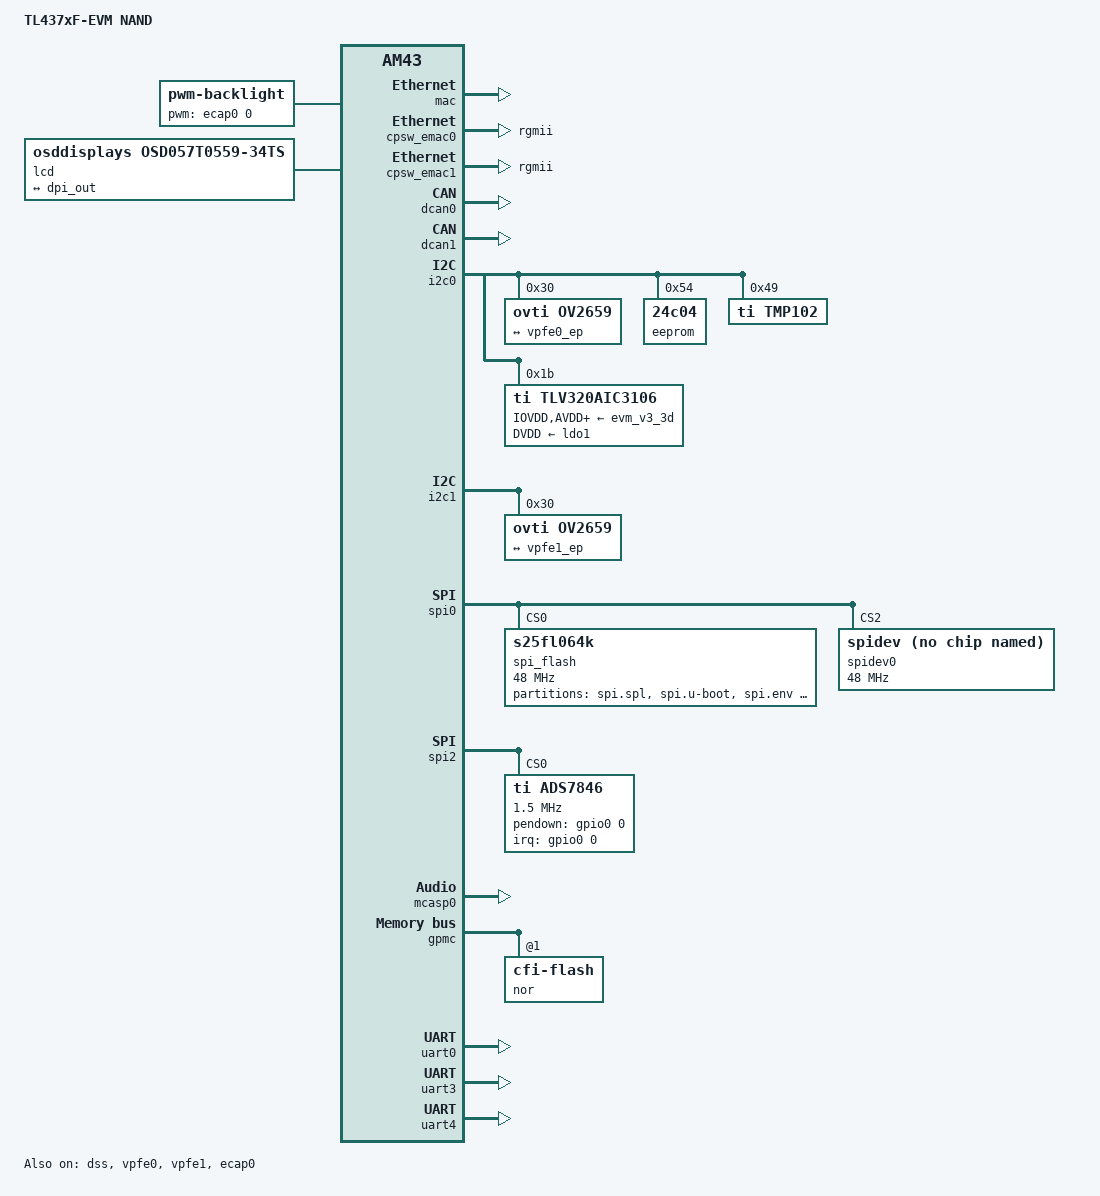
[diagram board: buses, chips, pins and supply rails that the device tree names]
/*
 * Copyright (C) 2015 GuangZhou Tronlong co., LTD - http://www.tronlong.com
 *
 * This program is free software; you can redistribute it and/or modify
 * it under the terms of the GNU General Public License version 2 as
 * published by the Free Software Foundation.
 */

/* TL437xF-EVM device tree */

#include "tl437x-common.dtsi"

/ {
	model = "TL437xF-EVM NAND";

	compatible = "ti,am437x-gp-evm","ti,am4372","ti,am43";

	backlight {
		compatible = "pwm-backlight";

		pinctrl-names = "default";
		pinctrl-0 = <&ecap0_pins>;

		pwms = <&ecap0 0 50000 0>;
		brightness-levels = <0 32 64 96 128 159 191 223 255>;
		default-brightness-level = <8>;
	};

	sound0: sound@0 {
		compatible = "simple-audio-card";
		simple-audio-card,name = "AM437x-GP-EVM";
		simple-audio-card,widgets =
			"Microphone", "Microphone Jack",
			"Line", "Line In Jack",
			"Line", "Line Out Jack";
		simple-audio-card,routing =
			"LINE1L", "Line In Jack",
			"LINE1R", "Line In Jack",
			"MIC3L", "Microphone Jack",
			"MIC3R", "Microphone Jack",
			"Microphone Jack", "Mic Bias",
			"Line Out Jack", "LLOUT",
			"Line Out Jack", "RLOUT";
		simple-audio-card,format = "dsp_b";
		simple-audio-card,bitclock-master = <&link0_codec>;
		simple-audio-card,frame-master = <&link0_codec>;
		simple-audio-card,bitclock-inversion;

		simple-audio-card,cpu {
			sound-dai = <&mcasp0>;
			system-clock-frequency = <24000000>;
		};

		link0_codec: simple-audio-card,codec {
			sound-dai = <&tlv320aic3106>;
			system-clock-frequency = <24000000>;
		};
	};

	lcd0: display {
		compatible = "osddisplays,osd057T0559-34ts", "panel-dpi";
		label = "lcd";

		panel-timing {
			clock-frequency = <33000000>;
			hactive = <800>;
			vactive = <480>;
			hfront-porch = <210>;
			hback-porch = <16>;
			hsync-len = <30>;
			vback-porch = <10>;
			vfront-porch = <22>;
			vsync-len = <13>;
			hsync-active = <0>;
			vsync-active = <0>;
			de-active = <1>;
			pixelclk-active = <1>;
		};

		port {
			lcd_in: endpoint {
				remote-endpoint = <&dpi_out>;
			};
		};
	};
};

&am43xx_pinmux {
	pinctrl-names = "default";
	pinctrl-0 = <&clkout1_pin &gpio_pins>;

	cpsw_default: cpsw_default {
		pinctrl-single,pins = <
			/* Slave 1 */
			AM4372_IOPAD(0x914, PIN_OUTPUT_PULLDOWN | MUX_MODE2)	/* mii1_txen.rgmii1_txen */
			AM4372_IOPAD(0x918, PIN_INPUT_PULLDOWN | MUX_MODE2)	/* mii1_rxdv.rgmii1_rxctl */
			AM4372_IOPAD(0x91c, PIN_OUTPUT_PULLDOWN | MUX_MODE2)	/* mii1_txd1.rgmii1_txd3 */
			AM4372_IOPAD(0x920, PIN_OUTPUT_PULLDOWN | MUX_MODE2)	/* mii1_txd0.rgmii1_txd2 */
			AM4372_IOPAD(0x924, PIN_OUTPUT_PULLDOWN | MUX_MODE2)	/* mii1_txd1.rgmii1_txd1 */
			AM4372_IOPAD(0x928, PIN_OUTPUT_PULLDOWN | MUX_MODE2)	/* mii1_txd0.rgmii1_txd0 */
			AM4372_IOPAD(0x92c, PIN_OUTPUT_PULLDOWN | MUX_MODE2)	/* mii1_txclk.rmii1_tclk */
			AM4372_IOPAD(0x930, PIN_INPUT_PULLDOWN | MUX_MODE2)	/* mii1_rxclk.rmii1_rclk */
			AM4372_IOPAD(0x934, PIN_INPUT_PULLDOWN | MUX_MODE2)	/* mii1_rxd1.rgmii1_rxd3 */
			AM4372_IOPAD(0x938, PIN_INPUT_PULLDOWN | MUX_MODE2)	/* mii1_rxd0.rgmii1_rxd2 */
			AM4372_IOPAD(0x93c, PIN_INPUT_PULLDOWN | MUX_MODE2)	/* mii1_rxd1.rgmii1_rxd1 */
			AM4372_IOPAD(0x940, PIN_INPUT_PULLDOWN | MUX_MODE2)	/* mii1_rxd0.rgmii1_rxd0 */

			/* Slave 2 */
			AM4372_IOPAD(0x840, PIN_OUTPUT_PULLDOWN | MUX_MODE2)	/* gpmc_a0.rgmii2_tctl */
			AM4372_IOPAD(0x844, PIN_INPUT_PULLDOWN | MUX_MODE2)		/* gpmc_a1.rgmii2_rctl */
			AM4372_IOPAD(0x848, PIN_OUTPUT_PULLDOWN | MUX_MODE2)	/* gpmc_a2.rgmii2_txd3 */
			AM4372_IOPAD(0x84c, PIN_OUTPUT_PULLDOWN | MUX_MODE2)	/* gpmc_a3.rgmii2_txd2 */
			AM4372_IOPAD(0x850, PIN_OUTPUT_PULLDOWN | MUX_MODE2)	/* gpmc_a4.rgmii2_txd1 */
			AM4372_IOPAD(0x854, PIN_OUTPUT_PULLDOWN | MUX_MODE2)	/* gpmc_a5.rgmii2_txd0 */
			AM4372_IOPAD(0x858, PIN_OUTPUT_PULLDOWN | MUX_MODE2)	/* gpmc_a6.rgmii2_tclk */
			AM4372_IOPAD(0x85c, PIN_INPUT_PULLDOWN | MUX_MODE2)	/* gpmc_a7.rgmii2_rclk */
			AM4372_IOPAD(0x860, PIN_INPUT_PULLDOWN | MUX_MODE2)	/* gpmc_a8.rgmii2_rxd3*/
			AM4372_IOPAD(0x864, PIN_INPUT_PULLDOWN | MUX_MODE2)	/* gpmc_a9.rgmii2_rxd2 */
			AM4372_IOPAD(0x868, PIN_INPUT_PULLDOWN | MUX_MODE2)	/* gpmc_a10.rgmii2_rxd1 */
			AM4372_IOPAD(0x86c, PIN_INPUT_PULLDOWN | MUX_MODE2)	/* gpmc_a11.rgmii2_rxd0 */
		>;
	};

	dcan0_default: dcan0_default_pins {
		pinctrl-single,pins = <
			AM4372_IOPAD(0x978, PIN_OUTPUT | MUX_MODE2)		/* uart1_ctsn.d_can0_tx */
			AM4372_IOPAD(0x97c, PIN_INPUT_PULLUP | MUX_MODE2)	/* uart1_rtsn.d_can0_rx */
		>;
	};

	dcan1_default: dcan1_default_pins {
		pinctrl-single,pins = <
			AM4372_IOPAD(0x980, PIN_OUTPUT | MUX_MODE2)		/* uart1_rxd.d_can1_tx */
			AM4372_IOPAD(0x984, PIN_INPUT_PULLUP | MUX_MODE2)	/* uart1_txd.d_can1_rx */
		>;
	};

	ads7846_int_pins: ads7846_int_pins {
		pinctrl-single,pins = <
			AM4372_IOPAD(0x908, PIN_INPUT_PULLUP | MUX_MODE9)	/* mii1_col.gpio0_0 */
		>;
	};

	dss_rgb565_pins: dss_rgb565_pins {
		pinctrl-single,pins = <
			AM4372_IOPAD(0x8a0, PIN_OUTPUT_PULLUP | MUX_MODE0)	/* DSS DATA 0 */
			AM4372_IOPAD(0x8a4, PIN_OUTPUT_PULLUP | MUX_MODE0)
			AM4372_IOPAD(0x8a8, PIN_OUTPUT_PULLUP | MUX_MODE0)
			AM4372_IOPAD(0x8ac, PIN_OUTPUT_PULLUP | MUX_MODE0)
			AM4372_IOPAD(0x8b0, PIN_OUTPUT_PULLUP | MUX_MODE0)
			AM4372_IOPAD(0x8b4, PIN_OUTPUT_PULLUP | MUX_MODE0)
			AM4372_IOPAD(0x8b8, PIN_OUTPUT_PULLUP | MUX_MODE0)
			AM4372_IOPAD(0x8bc, PIN_OUTPUT_PULLUP | MUX_MODE0)
			AM4372_IOPAD(0x8c0, PIN_OUTPUT_PULLUP | MUX_MODE0)
			AM4372_IOPAD(0x8c4, PIN_OUTPUT_PULLUP | MUX_MODE0)
			AM4372_IOPAD(0x8c8, PIN_OUTPUT_PULLUP | MUX_MODE0)
			AM4372_IOPAD(0x8cc, PIN_OUTPUT_PULLUP | MUX_MODE0)
			AM4372_IOPAD(0x8d0, PIN_OUTPUT_PULLUP | MUX_MODE0)
			AM4372_IOPAD(0x8d4, PIN_OUTPUT_PULLUP | MUX_MODE0)
			AM4372_IOPAD(0x8d8, PIN_OUTPUT_PULLUP | MUX_MODE0)
			AM4372_IOPAD(0x8dc, PIN_OUTPUT_PULLUP | MUX_MODE0)	/* DSS DATA 15 */
			AM4372_IOPAD(0x8e0, PIN_OUTPUT_PULLUP | MUX_MODE0)	/* DSS VSYNC */
			AM4372_IOPAD(0x8e4, PIN_OUTPUT_PULLUP | MUX_MODE0)	/* DSS HSYNC */
			AM4372_IOPAD(0x8e8, PIN_OUTPUT_PULLUP | MUX_MODE0)	/* DSS PCLK */
			AM4372_IOPAD(0x8ec, PIN_OUTPUT_PULLUP | MUX_MODE0)	/* DSS AC BIAS EN */

		>;
	};

	i2c1_pins_1: i2c1_pins_1 {
		pinctrl-single,pins = <
			AM4372_IOPAD(0x910, PIN_INPUT_PULLUP | SLEWCTRL_FAST | MUX_MODE3)	/* mii1_rx_er.i2c1_scl */
			AM4372_IOPAD(0x90c, PIN_INPUT_PULLUP | SLEWCTRL_FAST | MUX_MODE3)	/* mii1_crs.i2c1_sda  */
		>;
	};

	spi0_pins: spi0_pins {
		pinctrl-single,pins = <
			AM4372_IOPAD(0x950, INPUT_EN | MUX_MODE0)	/* spi0_sclk.spi0_sclk */
			AM4372_IOPAD(0x954, INPUT_EN | MUX_MODE0)	/* spi0_d0.spi0_d0 */
			AM4372_IOPAD(0x958, INPUT_EN | MUX_MODE0)	/* spi0_d1.spi0_d1 */
			AM4372_IOPAD(0x95c, PIN_OUTPUT_PULLUP | MUX_MODE0)	/* spi0_cs0.spi0_cs0 */
			AM4372_IOPAD(0xa74, PIN_OUTPUT_PULLUP | MUX_MODE1)	/* xdma_event_intr1.spi0_cs2 */
		>;
	};

	gpio_pins: gpio_pins {
		pinctrl-single,pins = <
			AM4372_IOPAD(0xa30, PIN_INPUT_PULLUP | MUX_MODE7)	/* uart3_ctsn.gpio5_0 */
			AM4372_IOPAD(0xa54, PIN_INPUT_PULLUP | MUX_MODE7)	/* spi4_d0.gpio5_5 */
			AM4372_IOPAD(0xa58, PIN_INPUT_PULLUP | MUX_MODE7)	/* spi4_d1.gpio5_6 */
			AM4372_IOPAD(0xa5c, PIN_INPUT_PULLUP | MUX_MODE7)	/* spi4_cs0.gpio5_7 */
		>;
	};

	vpfe0_pins_default: vpfe0_pins_default {
		pinctrl-single,pins = <
			AM4372_IOPAD(0x9b0, PIN_INPUT_PULLUP | MUX_MODE0)	/* cam0_hd mode 0*/
			AM4372_IOPAD(0x9b4, PIN_INPUT_PULLUP | MUX_MODE0)	/* cam0_vd mode 0*/
			AM4372_IOPAD(0x9c0, PIN_INPUT_PULLUP | MUX_MODE0)	/* cam0_pclk mode 0*/
			AM4372_IOPAD(0x9c4, PIN_INPUT_PULLUP | MUX_MODE0)	/* cam0_data8 mode 0*/
			AM4372_IOPAD(0x9c8, PIN_INPUT_PULLUP | MUX_MODE0)	/* cam0_data9 mode 0*/
			AM4372_IOPAD(0xa08, PIN_INPUT_PULLUP | MUX_MODE0)	/* cam0_data0 mode 0*/
			AM4372_IOPAD(0xa0c, PIN_INPUT_PULLUP | MUX_MODE0)	/* cam0_data1 mode 0*/
			AM4372_IOPAD(0xa10, PIN_INPUT_PULLUP | MUX_MODE0)	/* cam0_data2 mode 0*/
			AM4372_IOPAD(0xa14, PIN_INPUT_PULLUP | MUX_MODE0)	/* cam0_data3 mode 0*/
			AM4372_IOPAD(0xa18, PIN_INPUT_PULLUP | MUX_MODE0)	/* cam0_data4 mode 0*/
			AM4372_IOPAD(0xa1c, PIN_INPUT_PULLUP | MUX_MODE0)	/* cam0_data5 mode 0*/
			AM4372_IOPAD(0xa20, PIN_INPUT_PULLUP | MUX_MODE0)	/* cam0_data6 mode 0*/
			AM4372_IOPAD(0xa24, PIN_INPUT_PULLUP | MUX_MODE0)	/* cam0_data7 mode 0*/
		>;
	};

	vpfe1_pins_default: vpfe1_pins_default {
		pinctrl-single,pins = <
			AM4372_IOPAD(0x9cc, PIN_INPUT_PULLUP | MUX_MODE0)	/* cam1_data9 mode 0*/
			AM4372_IOPAD(0x9d0, PIN_INPUT_PULLUP | MUX_MODE0)	/* cam1_data8 mode 0*/
			AM4372_IOPAD(0x9d4, PIN_INPUT_PULLUP | MUX_MODE0)	/* cam1_hd mode 0*/
			AM4372_IOPAD(0x9d8, PIN_INPUT_PULLUP | MUX_MODE0)	/* cam1_vd mode 0*/
			AM4372_IOPAD(0x9dC, PIN_INPUT_PULLUP | MUX_MODE0)	/* cam1_pclk mode 0*/
			AM4372_IOPAD(0x9e8, PIN_INPUT_PULLUP | MUX_MODE0)	/* cam1_data0 mode 0*/
			AM4372_IOPAD(0x9ec, PIN_INPUT_PULLUP | MUX_MODE0)	/* cam1_data1 mode 0*/
			AM4372_IOPAD(0x9f0, PIN_INPUT_PULLUP | MUX_MODE0)	/* cam1_data2 mode 0*/
			AM4372_IOPAD(0x9f4, PIN_INPUT_PULLUP | MUX_MODE0)	/* cam1_data3 mode 0*/
			AM4372_IOPAD(0x9f8, PIN_INPUT_PULLUP | MUX_MODE0)	/* cam1_data4 mode 0*/
			AM4372_IOPAD(0x9fc, PIN_INPUT_PULLUP | MUX_MODE0)	/* cam1_data5 mode 0*/
			AM4372_IOPAD(0xa00, PIN_INPUT_PULLUP | MUX_MODE0)	/* cam1_data6 mode 0*/
			AM4372_IOPAD(0xa04, PIN_INPUT_PULLUP | MUX_MODE0)	/* cam1_data7 mode 0*/
		>;
	};

	mcasp0_pins: mcasp0_pins {
		pinctrl-single,pins = <
			AM4372_IOPAD(0x998, PIN_OUTPUT_PULLDOWN | MUX_MODE0)	/* mcasp0_axr0 */
			AM4372_IOPAD(0x990, PIN_INPUT_PULLDOWN | MUX_MODE0)	/* mcasp0_aclkx */
			AM4372_IOPAD(0x994, PIN_INPUT_PULLDOWN | MUX_MODE0)	/* mcasp0_fsx */
			AM4372_IOPAD(0x9a8, PIN_INPUT_PULLDOWN | MUX_MODE0)	/* mcasp0_axr1 */
		>;
	};

	mcasp0_sleep_pins: mcasp0_sleep_pins {
		pinctrl-single,pins = <
			AM4372_IOPAD(0x998, PIN_INPUT_PULLDOWN | MUX_MODE7)
			AM4372_IOPAD(0x990, PIN_INPUT_PULLDOWN | MUX_MODE7)
			AM4372_IOPAD(0x994, PIN_INPUT_PULLDOWN | MUX_MODE7)
			AM4372_IOPAD(0x9a8, PIN_INPUT_PULLDOWN | MUX_MODE7)
		>;
	};

	gpmc_pins: gpmc_pins {
		pinctrl-single,pins = <
			AM4372_IOPAD(0x800, PIN_INPUT  | MUX_MODE0)	/* gpmc_ad0.gpmc_ad0 */
			AM4372_IOPAD(0x804, PIN_INPUT  | MUX_MODE0)	/* gpmc_ad1.gpmc_ad1 */
			AM4372_IOPAD(0x808, PIN_INPUT  | MUX_MODE0)	/* gpmc_ad2.gpmc_ad2 */
			AM4372_IOPAD(0x80c, PIN_INPUT  | MUX_MODE0)	/* gpmc_ad3.gpmc_ad3 */
			AM4372_IOPAD(0x810, PIN_INPUT  | MUX_MODE0)	/* gpmc_ad4.gpmc_ad4 */
			AM4372_IOPAD(0x814, PIN_INPUT  | MUX_MODE0)	/* gpmc_ad5.gpmc_ad5 */
			AM4372_IOPAD(0x818, PIN_INPUT  | MUX_MODE0)	/* gpmc_ad6.gpmc_ad6 */
			AM4372_IOPAD(0x81c, PIN_INPUT  | MUX_MODE0)	/* gpmc_ad7.gpmc_ad7 */
			AM4372_IOPAD(0x820, PIN_INPUT  | MUX_MODE0)	/* gpmc_ad0.gpmc_ad8 */
			AM4372_IOPAD(0x824, PIN_INPUT  | MUX_MODE0)	/* gpmc_ad1.gpmc_ad9 */
			AM4372_IOPAD(0x828, PIN_INPUT  | MUX_MODE0)	/* gpmc_ad2.gpmc_ad10 */
			AM4372_IOPAD(0x82c, PIN_INPUT  | MUX_MODE0)	/* gpmc_ad3.gpmc_ad11 */
			AM4372_IOPAD(0x830, PIN_INPUT  | MUX_MODE0)	/* gpmc_ad4.gpmc_ad12 */
			AM4372_IOPAD(0x834, PIN_INPUT  | MUX_MODE0)	/* gpmc_ad5.gpmc_ad13 */
			AM4372_IOPAD(0x838, PIN_INPUT  | MUX_MODE0)	/* gpmc_ad6.gpmc_ad14 */
			AM4372_IOPAD(0x83c, PIN_INPUT  | MUX_MODE0)	/* gpmc_ad7.gpmc_ad15 */
			AM4372_IOPAD(0x870, PIN_INPUT_PULLUP | MUX_MODE7)	/* gpmc_wait0.gpio0_30 */
			AM4372_IOPAD(0x874, PIN_OUTPUT_PULLUP | MUX_MODE7)	/* gpmc_wpn.gpmc_wpn */
			AM4372_IOPAD(0x878, PIN_OUTPUT | MUX_MODE0)		/* gpmc_be1n_cle.gpmc_be1n_cle */
			AM4372_IOPAD(0x87c, PIN_OUTPUT | MUX_MODE0)		/* gpmc_csn0.gpmc_csn0  */
			AM4372_IOPAD(0x880, PIN_OUTPUT | MUX_MODE0)		/* gpmc_csn1.gpmc_csn1  */
			AM4372_IOPAD(0x890, PIN_OUTPUT | MUX_MODE0)		/* gpmc_advn_ale.gpmc_advn_ale */
			AM4372_IOPAD(0x894, PIN_OUTPUT | MUX_MODE0)		/* gpmc_oen_ren.gpmc_oen_ren */
			AM4372_IOPAD(0x898, PIN_OUTPUT | MUX_MODE0)		/* gpmc_wen.gpmc_wen */
			AM4372_IOPAD(0x89c, PIN_OUTPUT | MUX_MODE0)		/* gpmc_be0n_cle.gpmc_be0n_cle */
		>;
	};

	ecap0_pins: backlight_pins {
		pinctrl-single,pins = <
			AM4372_IOPAD(0x964, MUX_MODE0)       /* eCAP0_in_PWM0_out.eCAP0_in_PWM0_out MODE0 */
		>;
	};

	uart0_pins: uart0_pins {
		pinctrl-single,pins = <
			AM4372_IOPAD(0x970, PIN_INPUT_PULLUP | SLEWCTRL_FAST | DS0_PULL_UP_DOWN_EN | MUX_MODE0) /* uart0_rxd.uart0_rxd */
			AM4372_IOPAD(0x974, PIN_INPUT | PULL_DISABLE | SLEWCTRL_FAST | DS0_PULL_UP_DOWN_EN | MUX_MODE0) /* uart0_txd.uart0_txd */
		>;
	};

	uart3_pins: uart3_pins {
		pinctrl-single,pins = <
			AM4372_IOPAD(0xa28, PIN_INPUT_PULLUP | MUX_MODE0)   /* uart3_rxd.uart3_rxd */
			AM4372_IOPAD(0xa2c, PIN_OUTPUT_PULLDOWN | MUX_MODE0) /* uart3_txd.uart3_txd */
		>;
	};

	uart4_pins: uart4_pins {
		pinctrl-single,pins = <
			AM4372_IOPAD(0x968, PIN_INPUT_PULLUP | MUX_MODE1)   /* uart0_ctsn.uart4_rxd */
			AM4372_IOPAD(0x96c, PIN_OUTPUT_PULLDOWN | MUX_MODE1) /* uart0_rtsn.uart4_txd */
		>;
	};
};

&mac {
	slaves = <2>;
	pinctrl-names = "default";
	pinctrl-0 = <&cpsw_default>;
	dual_emac;
	status = "okay";
};

&cpsw_emac0 {
	phy_id = <&davinci_mdio>, <4>;
	phy-mode = "rgmii";
	dual_emac_res_vlan = <1>;
};

&cpsw_emac1 {
	phy_id = <&davinci_mdio>, <5>;
	phy-mode = "rgmii";
	dual_emac_res_vlan = <2>;
};

&dcan0 {
	pinctrl-names = "default";
	pinctrl-0 = <&dcan0_default>;
	status = "okay";
};

&dcan1 {
	pinctrl-names = "default";
	pinctrl-0 = <&dcan1_default>;
	status = "okay";
};

&i2c0 {
	status = "okay";

	ov2659@30 {
		compatible = "ovti,ov2659";
		reg = <0x30>;

		clocks = <&audio_mstrclk>;
		clock-names = "xvclk";

		port {
			ov2659_0: endpoint {
				remote-endpoint = <&vpfe0_ep>;
				link-frequencies = /bits/ 64 <70000000>;
			};
		};
	};

	eeprom@54 {
		compatible = "24c04";
		reg = <0x54>;
		pagesize = <16>;
	};

	tmp102: tmp102@49 {
		compatible = "ti,tmp102";
		reg = <0x49>;
	};

	tlv320aic3106: tlv320aic3106@1b {
		#sound-dai-cells = <0>;
		compatible = "ti,tlv320aic3106";
		reg = <0x1b>;
		ai3x-micbias-vg = <1>; /* MICBIAS output is powered to 2.0V */
		status = "okay";

		/* Regulators */
		IOVDD-supply = <&evm_v3_3d>; /* V3_3D -> <tps63031> EN: V1_8D -> VBAT */
		AVDD-supply = <&evm_v3_3d>; /* v3_3AUD -> V3_3D -> ... */
		DRVDD-supply = <&evm_v3_3d>; /* v3_3AUD -> V3_3D -> ... */
		DVDD-supply = <&ldo1>; /* V1_8D -> LDO1 */
	};
};

&i2c1 {
	status = "okay";
	pinctrl-names = "default";
	pinctrl-0 = <&i2c1_pins_1>;

	ov2659@30 {
		compatible = "ovti,ov2659";
		reg = <0x30>;

		clocks = <&audio_mstrclk>;
		clock-names = "xvclk";

		port {
			ov2659_1: endpoint {
				remote-endpoint = <&vpfe1_ep>;
				link-frequencies = /bits/ 64 <70000000>;
			};
		};
	};
};

&spi0 {
	status = "okay";
	pinctrl-names = "default";
	pinctrl-0 = <&spi0_pins>;

	ti,spi-num-cs = <3>;
	spi-max-frequency = <48000000>;

	dmas = <&edma 16 0
	        &edma 17 0
			&edma 20 2
			&edma 21 2>;
	dma-names = "tx0", "rx0", "tx2", "rx2";

	spi_flash@0 {
		compatible = "s25fl064k"; // use the s25fl064k for w25q64 chip
		spi-max-frequency = <48000000>;
		reg = <0>;

		spi-tx-bus-width = <1>;
		spi-rx-bus-width = <1>;
		#address-cells = <1>;
		#size-cells = <1>;

		partition@0 {
			label = "spi.spl";
			reg = <0x00000000 0x00020000>;	/* 128KB */
		};

		partition@1 {
			label = "spi.u-boot";
			reg = <0x00020000 0x00080000>;	/* 512KB */
		};

		partition@2 {
			label = "spi.env";
			reg = <0x000a0000 0x00040000>;	/* 256KB */
		};

		partition@3 {
			label = "spi.devicetree";
			reg = <0x000e0000 0x00080000>;	/* 512KB */
		};

		partition@4 {
			label = "spi.kernel";
			reg = <0x00160000 0x00400000>;	/* 4M */
		};

		partition@5 {
			label = "spi.user-data";
			reg = <0x00560000 0x002A0000>;
		};
	};

	spidev0: spi@2 {
		compatible = "rohm,dh2228fv", "spidev";
		spi-max-frequency = <48000000>;
		reg = <2>;
	};
};

&spi2 {
	status = "okay";
	pinctrl-names = "default";
	pinctrl-0 = <&spi2_pins>;
	ti,pindir-d0-out-d1-in;

	ads7846@0 {
		pinctrl-names = "default";
		pinctrl-0 = <&ads7846_int_pins>;

		compatible = "ti,ads7846";

		reg = <0>;			/* CS0 */
		spi-max-frequency = <1500000>;

		interrupt-parent = <&gpio0>;
		interrupts = <0 0>;
		pendown-gpio = <&gpio0 0 0>;

		ti,x-min = /bits/ 16 <0x0>;
		ti,x-max = /bits/ 16 <0x0fff>;
		ti,y-min = /bits/ 16 <0x0>;
		ti,y-max = /bits/ 16 <0x0fff>;

		ti,x-plate-ohms = /bits/ 16 <180>;
		ti,pressure-max = /bits/ 16 <255>;

		ti,debounce-max = /bits/ 16 <10>;
		ti,debounce-tol = /bits/ 16 <30>;
		ti,debounce-rep = /bits/ 16 <1>;

		ti,settle-delay-usec = /bits/ 16 <150>;
		ti,keep-vref-on = <1>;

		linux,wakeup;
	};
};

&mcasp0 {
	#sound-dai-cells = <0>;
	pinctrl-names = "default";
	pinctrl-0 = <&mcasp0_pins>;
	pinctrl-1 = <&mcasp0_sleep_pins>;

	status = "okay";

	op-mode = <0>; /* MCASP_IIS_MODE */
	tdm-slots = <2>;
	/* 4 serializers */
	serial-dir = <  /* 0: INACTIVE, 1: TX, 2: RX */
		1 2 0 0
	>;
	tx-num-evt = <32>;
	rx-num-evt = <32>;
};

&dss {
	status = "ok";

	pinctrl-names = "default";
	pinctrl-0 = <&dss_rgb565_pins>;

	port {
		dpi_out: endpoint {
			remote-endpoint = <&lcd_in>;
			data-lines = <16>;
		};
	};
};

&vpfe0 {
	status = "okay";
	pinctrl-names = "default";
	pinctrl-0 = <&vpfe0_pins_default>;

	port {
		vpfe0_ep: endpoint {
			remote-endpoint = <&ov2659_0>;
			ti,am437x-vpfe-interface = <0>;
			bus-width = <8>;
			hsync-active = <0>;
			vsync-active = <0>;
		};
	};
};

&vpfe1 {
	status = "okay";
	pinctrl-names = "default";
	pinctrl-0 = <&vpfe1_pins_default>;

	port {
		vpfe1_ep: endpoint {
			remote-endpoint = <&ov2659_1>;
			ti,am437x-vpfe-interface = <0>;
			bus-width = <8>;
			hsync-active = <0>;
			vsync-active = <0>;
		};
	};
};

&gpmc {
	status = "okay";
	pinctrl-names = "default";
	pinctrl-0 = <&gpmc_pins>;

	ranges = <0 0 0x08000000 0x01000000>,	/* minimum GPMC partition = 16MB */
			<1 0 0x01000000 0x01000000>;	/* fpga minimum GPMC partition = 16MB */

	nor@1,0 {
		compatible = "cfi-flash";
		linux,mtd-name= "intel,pf48f6000m0y1be";
		#address-cells = <1>;
		#size-cells = <1>;
		reg = <1 0 0x01000000>;

		/* CONFIG 1 */
		bank-width = <2>;
		gpmc,mux-add-data = <2>;	/* 1: address-address-data multiplexing mode, 2: address-data multiplexing mode.*/

		/* CONFIG 2 */
		gpmc,cs-on-ns = <0>;
		gpmc,cs-rd-off-ns = <100>;
		gpmc,cs-wr-off-ns = <100>;

		/* CONFIG 3 */
		gpmc,adv-on-ns = <10>;
		gpmc,adv-rd-off-ns = <30>;
		gpmc,adv-wr-off-ns = <30>;

		/* CONFIG 4 */
		gpmc,oe-on-ns = <40>;
		gpmc,oe-off-ns = <100>;
		gpmc,we-on-ns = <40>;
		gpmc,we-off-ns = <90>;

		/* CONFIG 5 */
		gpmc,rd-cycle-ns = <100>;
		gpmc,wr-cycle-ns = <100>;
		gpmc,access-ns = <90>;
		gpmc,page-burst-access-ns = <0>;

		/* CONFIG 6 */
		gpmc,bus-turnaround-ns = <0>;
		gpmc,cycle2cycle-delay-ns = <0>;
		gpmc,wr-data-mux-bus-ns = <40>;
		gpmc,wr-access-ns = <70>;
		gpmc,cycle2cycle-samecsen;
		gpmc,cycle2cycle-diffcsen;
	};
};

&ecap0 {
	status = "okay";
};

&uart0 {
	status = "okay";
	pinctrl-names = "default";
	pinctrl-0 = <&uart0_pins>;
};

&uart3 {
	status = "okay";
	pinctrl-names = "default";
	pinctrl-0 = <&uart3_pins>;
};

&uart4 {
	status = "okay";
	pinctrl-names = "default";
	pinctrl-0 = <&uart4_pins>;
};

&dispc {
	ti,no-reset-on-init;
	ti,no-idle;
};

&dss {
	ti,no-reset-on-init;
	ti,no-idle;
};

&gpio0 {
	ti,no-reset-on-init;
};
